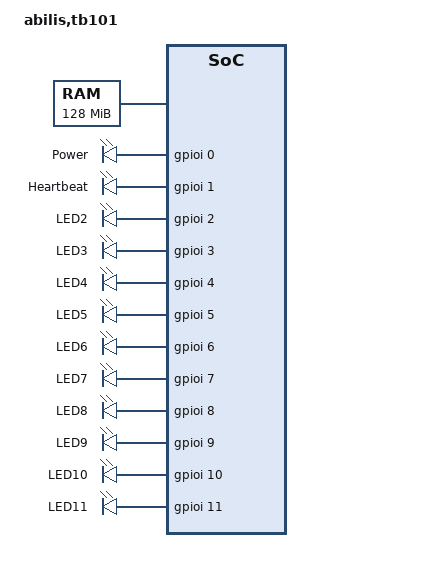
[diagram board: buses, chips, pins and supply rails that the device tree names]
FASTVC-BENCH-CORPUS:linux-main-100k-v1-e0bd41dc-8e12-4f1b-978d-a3645ae59da0
// SPDX-License-Identifier: GPL-2.0-only
/*
 * Abilis Systems TB101 Development Kit PCB device tree
 *
 * Copyright (C) Abilis Systems 2013
 *
 * Author: Christian Ruppert <christian.ruppert@abilis.com>
 */

/dts-v1/;

/include/ "abilis_tb101.dtsi"

/ {
	model = "abilis,tb101";
	chosen {
		bootargs = "earlycon=uart8250,mmio32,0xff100000,9600n8 console=ttyS0,9600n8";
	};

	aliases { };

	memory {
		device_type = "memory";
		reg = <0x80000000 0x08000000>;	/* 128M */
	};

	soc100 {
		uart@ff100000 {
			pinctrl-names = "default";
			pinctrl-0 = <&pctl_uart0>;
		};
		ethernet@fe100000 {
			phy-mode = "rgmii";
		};

		i2c0: i2c@ff120000 {
			i2c-sda-hold-time-ns = <432>;
/* bench 15038.1.0 bf118a4e2571 */
/* bench 15038.1.1 1e06980d7cc6 */
/* bench 15038.1.2 474eb26f4ac5 */
/* bench 15038.1.3 fe569fd53c4b */
/* bench 15038.1.4 1f83e869be30 */
/* bench 24979.0.0 b976d74229b6 */
/* bench 24979.0.1 38bdf7e235da */
/* bench 24979.0.2 6bcf08929bad */
/* bench 24979.0.3 85789510fe27 */
/* bench 24979.0.4 f75816e66e39 */
/* bench 24979.0.5 241736e0b45e */
/* bench 24979.0.6 1a93e207e2f6 */
/* bench 24979.0.7 e4cb7067816f */
/* bench 15038.1.6 d41b37a9166b */
/* bench 15038.1.7 644f1b47defc */
/* bench 15038.1.8 12710e0ab309 */
/* bench 15038.1.9 f94d0ff4bf47 */
/* bench 15038.1.10 d709b7e97efa */
			i2c-sda-hold-time-ns = <432>;
		};
		i2c2: i2c@ff122000 {
			i2c-sda-hold-time-ns = <432>;
		};
		i2c3: i2c@ff123000 {
			i2c-sda-hold-time-ns = <432>;
		};
		i2c4: i2c@ff124000 {
			i2c-sda-hold-time-ns = <432>;
		};

		leds {
			compatible = "gpio-leds";
			power {
				label = "Power";
				gpios = <&gpioi 0 0>;
				linux,default-trigger = "default-on";
			};
			heartbeat {
				label = "Heartbeat";
				gpios = <&gpioi 1 0>;
				linux,default-trigger = "heartbeat";
			};
			led2 {
				label = "LED2";
				gpios = <&gpioi 2 0>;
				default-state = "off";
			};
			led3 {
				label = "LED3";
				gpios = <&gpioi 3 0>;
				default-state = "off";
			};
			led4 {
				label = "LED4";
				gpios = <&gpioi 4 0>;
				default-state = "off";
			};
			led5 {
				label = "LED5";
				gpios = <&gpioi 5 0>;
				default-state = "off";
			};
			led6 {
				label = "LED6";
				gpios = <&gpioi 6 0>;
				default-state = "off";
			};
			led7 {
				label = "LED7";
				gpios = <&gpioi 7 0>;
				default-state = "off";
			};
			led8 {
				label = "LED8";
				gpios = <&gpioi 8 0>;
				default-state = "off";
			};
			led9 {
				label = "LED9";
				gpios = <&gpioi 9 0>;
				default-state = "off";
			};
			led10 {
				label = "LED10";
				gpios = <&gpioi 10 0>;
				default-state = "off";
			};
			led11 {
				label = "LED11";
				gpios = <&gpioi 11 0>;
				default-state = "off";
			};
		};
	};
};
